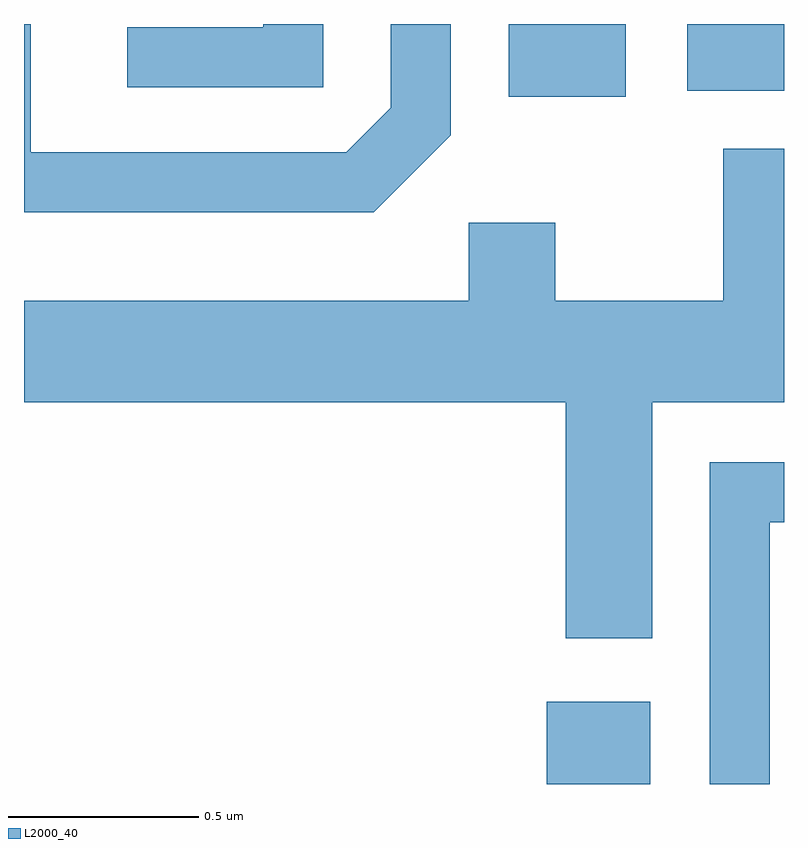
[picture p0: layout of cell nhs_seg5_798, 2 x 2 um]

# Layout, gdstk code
import gdstk
lib = gdstk.Library(unit=1e-6, precision=1e-09)
def R(c, l, rs):  # rectangles x0, y0, x1, y1
    for r in rs: c.add(gdstk.rectangle(r[:2], r[2:], *l))
def P(c, l, *ps):  # polygons
    for p in ps: c.add(gdstk.Polygon(p, *l))
L2000_40 = (2000, 40)

nhs_seg5_798 = lib.new_cell('nhs_seg5_798')
R(nhs_seg5_798, L2000_40, [(191.986,1509.072,192.259,1509.289), (191.886,1510.881,192.194,1511.072), (192.356,1510.896,192.611,1511.072)])
P(nhs_seg5_798, L2000_40, [(191.399,1511.072),(191.241,1511.072),(191.241,1511.064),(190.883,1511.064),(190.883,1510.906),(191.399,1510.906)],
  [(191.734,1510.779),(191.734,1511.072),(191.576,1511.072),(191.576,1510.852),(191.459,1510.734),(190.629,1510.734),(190.629,1511.072),(190.611,1511.072),(190.611,1510.576),(191.532,1510.576)],
  [(192.264,1510.076),(192.611,1510.076),(192.611,1510.744),(192.451,1510.744),(192.451,1510.344),(192.009,1510.344),(192.009,1510.549),(191.781,1510.549),(191.781,1510.344),(190.611,1510.344),(190.611,1510.076),(192.036,1510.076),(192.036,1509.456),(192.264,1509.456)],
  [(192.574,1509.761),(192.611,1509.761),(192.611,1509.919),(192.416,1509.919),(192.416,1509.072),(192.574,1509.072)])

lib.write_gds('nhs_seg5_798.gds')
